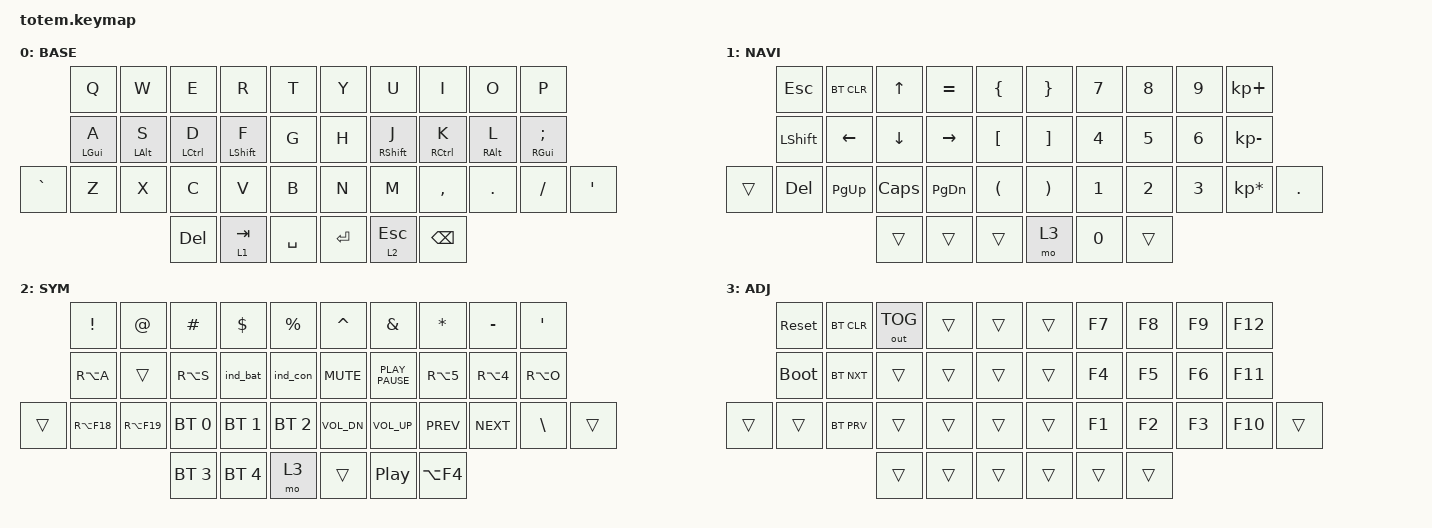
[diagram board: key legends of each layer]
//
//                                                        ▀▀▀▀▀     ▀▀▀▀▀          ▀▀█▀▀
//                                                        ▄▀▀▀▄  ▄  ▄▀▀▀▄  ▄  ▄▀▀▀▄  █  ▄▀▀▀▄
//                                                        █   █  █  █   █  █  █   █  █  █   █
//                                                         ▀▀▀   █   ▀▀▀   █   ▀▀▀   ▀   ▀▀▀
//                                                               █      ▄▄▄█▄▄▄    █   █  
//                                                               ▀      █  █  █     █▄█
//                                                             ▀▀▀▀▀    █  █  █      ▀
//                                                                      ▀  ▀  ▀
//
// ▄▄▄▄▄▄▄▄▄▄▄▄▄▄▄▄▄▄▄▄▄▄▄▄▄▄▄▄▄▄▄▄▄▄▄▄▄▄▄▄▄▄▄▄▄▄▄▄▄▄▄▄▄▄▄▄▄▄▄▄▄▄▄▄▄▄▄▄▄▄▄▄▄▄▄▄▄▄▄▄▄▄▄▄▄▄▄▄▄▄▄▄▄▄▄▄▄▄▄▄▄▄▄▄▄▄▄▄▄▄▄▄▄▄▄▄▄▄▄▄▄▄▄▄▄▄▄▄▄▄▄▄▄▄▄▄▄▄▄▄▄▄▄▄▄▄▄▄▄

#include <behaviors/rgbled_widget.dtsi>
#include <behaviors.dtsi>
#include <dt-bindings/zmk/bt.h>
#include <dt-bindings/zmk/keys.h>
#include <dt-bindings/zmk/outputs.h>

#define BASE 0
#define NAV  1
#define SYM  2
#define ADJ  3
#define TVP1 4
#define TVP2 5

&mt {
    quick-tap-ms = <100>;
    global-quick-tap;
    flavor = "tap-preferred";
    tapping-term-ms = <170>;
};

/ {
    behaviors {
        hml: homerow_mods_left {
            compatible = "zmk,behavior-hold-tap";
            #binding-cells = <2>;
            flavor = "balanced";
            tapping-term-ms = <280>;
            quick-tap-ms = <175>;
            require-prior-idle-ms = <150>;
            bindings = <&kp>, <&kp>;

            hold-trigger-key-positions = <5 6 7 8 9 15 16 17 18 19 25 26 27 28 29 30 31 32 33 34 35 36 37>;
            hold-trigger-on-release;
        };

        hmr: homerow_mods_right {
            compatible = "zmk,behavior-hold-tap";
            #binding-cells = <2>;
            flavor = "balanced";
            tapping-term-ms = <280>;
            quick-tap-ms = <175>;
            require-prior-idle-ms = <150>;
            bindings = <&kp>, <&kp>;

            hold-trigger-key-positions = <0 1 2 3 4 10 11 12 13 14 20 21 22 23 24 30 31 32 33 34 35 36 37>;
            hold-trigger-on-release;
        };

        ind_bat: ind_bat {
            compatible = "zmk,behavior-rgbled-widget";
            #binding-cells = <0>;
        };

        ind_con: ind_con {
            compatible = "zmk,behavior-rgbled-widget";
            #binding-cells = <0>;
        };
    };

    combos {
        compatible = "zmk,combos";

        combo_esc {
            timeout-ms = <50>;
            key-positions = <0 1>;
            bindings = <&kp ESC>;
        };

        combo_tvp {
            timeout-ms = <100>;
            key-positions = <11 12 13>;
            bindings = <&tog 0>;
        };
    };

    macros {
        gif: gif {
            label = "giphy";
            compatible = "zmk,behavior-macro";
            #binding-cells = <0>;
            bindings =
                <&macro_press>,
                <&kp LSHFT>,
                <&macro_tap>,
                <&kp N2>,
                <&macro_release>,
                <&kp LSHFT>,
                <&macro_tap>,
                <&kp G &kp I &kp F>;
        };
    };

    keymap {
        compatible = "zmk,keymap";

        // ▄▄▄▄▄▄▄▄▄▄▄▄▄▄▄▄▄▄▄▄▄▄▄▄▄▄▄▄▄▄▄▄▄▄▄▄▄▄▄▄▄▄▄▄▄▄▄▄▄▄▄▄▄▄▄▄▄▄▄▄▄▄▄▄▄▄▄▄▄▄▄▄▄▄▄▄▄▄▄▄▄▄▄▄▄▄▄▄▄▄▄▄▄▄▄▄▄▄▄▄▄▄▄▄▄▄▄▄▄▄▄▄▄▄▄▄▄▄▄▄▄▄▄▄▄▄▄▄▄▄▄▄▄▄▄▄▄▄▄▄▄▄▄▄▄▄▄▄▄

        base_layer {
            // ┏━━━━━━━━━━━━━━━━━━━━━━━━━━━━━━━━━━━━━━━┓

            label = "BASE";

            // ┗━━━━━━━━━━━━━━━━━━━━━━━━━━━━━━━━━━━━━━━┛
            //             ┏━━━━━━━━━━━┳━━━━━━━━━━━┳━━━━━━━━━━━┳━━━━━━━━━━━┳━━━━━━━━━━━┓   ┏━━━━━━━━━━━┳━━━━━━━━━━━┳━━━━━━━━━━━┳━━━━━━━━━━━┳━━━━━━━━━━━┓
            //             ┃     Q     ┃     W     ┃     F     ┃     P     ┃     G     ┃   ┃     J     ┃     L     ┃     U     ┃     Y     ┃     ;     ┃
            //             ┣━━━━━━━━━━━╋━━━━━━━━━━━╋━━━━━━━━━━━╋━━━━━━━━━━━╋━━━━━━━━━━━┫   ┣━━━━━━━━━━━╋━━━━━━━━━━━╋━━━━━━━━━━━╋━━━━━━━━━━━╋━━━━━━━━━━━┫
            //             ┃     A     ┃     R     ┃     S     ┃     T     ┃     D     ┃   ┃     H     ┃     N     ┃     E     ┃     I     ┃     O     ┃
            // ┏━━━━━━━━━━━╋━━━━━━━━━━━╋━━━━━━━━━━━╋━━━━━━━━━━━╋━━━━━━━━━━━╋━━━━━━━━━━━┫   ┣━━━━━━━━━━━╋━━━━━━━━━━━╋━━━━━━━━━━━╋━━━━━━━━━━━╋━━━━━━━━━━━╋━━━━━━━━━━━┓
            // ┃     Q     ┃     Z     ┃     X     ┃     C     ┃     V     ┃     B     ┃   ┃     K     ┃     M     ┃     ,     ┃     .     ┃     /     ┃     \     ┃
            // ┗━━━━━━━━━━━┻━━━━━━━━━━━┻━━━━━━━━━━━╋━━━━━━━━━━━╋━━━━━━━━━━━╋━━━━━━━━━━━┫   ┣━━━━━━━━━━━╋━━━━━━━━━━━╋━━━━━━━━━━━╋━━━━━━━━━━━┻━━━━━━━━━━━┻━━━━━━━━━━━┛
            //                                     ┃    DEL    ┃    TAB    ┃    SPC    ┃   ┃   ENTER   ┃           ┃   BSPC    ┃
            //                                     ┗━━━━━━━━━━━┻━━━━━━━━━━━┻━━━━━━━━━━━┛   ┗━━━━━━━━━━━┻━━━━━━━━━━━┻━━━━━━━━━━━┛

            bindings = <
           &kp Q        &kp W            &kp E         &kp R              &kp T        &kp Y    &kp U         &kp I         &kp O        &kp P
           &hml LGUI A  &hml LEFT_ALT S  &hml LCTRL D  &hml LEFT_SHIFT F  &kp G        &kp H    &hmr RSHFT J  &hmr RCTRL K  &hmr RALT L  &hmr RIGHT_GUI SEMICOLON
&kp GRAVE  &kp Z        &kp X            &kp C         &kp V              &kp B        &kp N    &kp M         &kp COMMA     &kp DOT      &kp FSLH                  &kp SQT
                                         &kp DEL       &lt 1 TAB          &kp SPACE    &kp RET  &lt 2 ESC     &kp BSPC
            >;
        };

        // ▄▄▄▄▄▄▄▄▄▄▄▄▄▄▄▄▄▄▄▄▄▄▄▄▄▄▄▄▄▄▄▄▄▄▄▄▄▄▄▄▄▄▄▄▄▄▄▄▄▄▄▄▄▄▄▄▄▄▄▄▄▄▄▄▄▄▄▄▄▄▄▄▄▄▄▄▄▄▄▄▄▄▄▄▄▄▄▄▄▄▄▄▄▄▄▄▄▄▄▄▄▄▄▄▄▄▄▄▄▄▄▄▄▄▄▄▄▄▄▄▄▄▄▄▄▄▄▄▄▄▄▄▄▄▄▄▄▄▄▄▄▄▄▄▄▄▄▄▄

        nav_layer {
            // ┏━━━━━━━━━━━━━━━━━━━━━━━━━━━━━━━━━━━━━━━┓

            label = "NAVI";

            // ┗━━━━━━━━━━━━━━━━━━━━━━━━━━━━━━━━━━━━━━━┛
            //             ┏━━━━━━━━━━━┳━━━━━━━━━━━┳━━━━━━━━━━━┳━━━━━━━━━━━┳━━━━━━━━━━━┓   ┏━━━━━━━━━━━┳━━━━━━━━━━━┳━━━━━━━━━━━┳━━━━━━━━━━━┳━━━━━━━━━━━┓
            //             ┃           ┃           ┃     UP    ┃           ┃     {     ┃   ┃     }     ┃     7     ┃     8     ┃     9     ┃     +     ┃
            //             ┣━━━━━━━━━━━╋━━━━━━━━━━━╋━━━━━━━━━━━╋━━━━━━━━━━━╋━━━━━━━━━━━┫   ┣━━━━━━━━━━━╋━━━━━━━━━━━╋━━━━━━━━━━━╋━━━━━━━━━━━╋━━━━━━━━━━━┫
            //             ┃   SHIFT   ┃   LEFT    ┃    DOWN   ┃   RIGHT   ┃     [     ┃   ┃     ]     ┃     4     ┃     5     ┃     6     ┃     -     ┃
            // ┏━━━━━━━━━━━╋━━━━━━━━━━━╋━━━━━━━━━━━╋━━━━━━━━━━━╋━━━━━━━━━━━╋━━━━━━━━━━━┫   ┣━━━━━━━━━━━╋━━━━━━━━━━━╋━━━━━━━━━━━╋━━━━━━━━━━━╋━━━━━━━━━━━╋━━━━━━━━━━━┓
            // ┃           ┃           ┃   P UP    ┃  C LOCK   ┃  P DOWN   ┃     (     ┃   ┃     )     ┃     1     ┃     2     ┃     3     ┃     *     ┃           ┃
            // ┗━━━━━━━━━━━┻━━━━━━━━━━━┻━━━━━━━━━━━╋━━━━━━━━━━━╋━━━━━━━━━━━╋━━━━━━━━━━━┫   ┣━━━━━━━━━━━╋━━━━━━━━━━━╋━━━━━━━━━━━╋━━━━━━━━━━━┻━━━━━━━━━━━┻━━━━━━━━━━━┛
            //                                     ┃           ┃    TAB    ┃    SPC    ┃   ┃    DEL    ┃     0     ┃           ┃
            //                                     ┗━━━━━━━━━━━┻━━━━━━━━━━━┻━━━━━━━━━━━┛   ┗━━━━━━━━━━━┻━━━━━━━━━━━┻━━━━━━━━━━━┛

            bindings = <
        &kp ESC    &bt BT_CLR  &kp UP    &kp EQUAL  &kp LBRC    &kp RBRC  &kp NUMBER_7  &kp NUMBER_8  &kp NUMBER_9  &kp KP_PLUS
        &kp LSHFT  &kp LEFT    &kp DOWN  &kp RIGHT  &kp LBKT    &kp RBKT  &kp NUMBER_4  &kp NUMBER_5  &kp NUMBER_6  &kp KP_MINUS
&trans  &kp DEL    &kp PG_UP   &kp CAPS  &kp PG_DN  &kp LPAR    &kp RPAR  &kp NUMBER_1  &kp NUMBER_2  &kp NUMBER_3  &kp KP_MULTIPLY  &kp PERIOD
                               &trans    &trans     &trans      &mo 3     &kp NUMBER_0  &trans
            >;
        };

        // ▄▄▄▄▄▄▄▄▄▄▄▄▄▄▄▄▄▄▄▄▄▄▄▄▄▄▄▄▄▄▄▄▄▄▄▄▄▄▄▄▄▄▄▄▄▄▄▄▄▄▄▄▄▄▄▄▄▄▄▄▄▄▄▄▄▄▄▄▄▄▄▄▄▄▄▄▄▄▄▄▄▄▄▄▄▄▄▄▄▄▄▄▄▄▄▄▄▄▄▄▄▄▄▄▄▄▄▄▄▄▄▄▄▄▄▄▄▄▄▄▄▄▄▄▄▄▄▄▄▄▄▄▄▄▄▄▄▄▄▄▄▄▄▄▄▄▄▄▄

        sim_layer {
            // ┏━━━━━━━━━━━━━━━━━━━━━━━━━━━━━━━━━━━━━━━┓

            label = "SYM";

            // ┗━━━━━━━━━━━━━━━━━━━━━━━━━━━━━━━━━━━━━━━┛
            //             ┏━━━━━━━━━━━┳━━━━━━━━━━━┳━━━━━━━━━━━┳━━━━━━━━━━━┳━━━━━━━━━━━┓   ┏━━━━━━━━━━━┳━━━━━━━━━━━┳━━━━━━━━━━━┳━━━━━━━━━━━┳━━━━━━━━━━━┓
            //             ┃     !     ┃     @     ┃     #     ┃     $     ┃     %     ┃   ┃     ˆ     ┃     &     ┃     Ü     ┃     '     ┃     "     ┃
            //             ┣━━━━━━━━━━━╋━━━━━━━━━━━╋━━━━━━━━━━━╋━━━━━━━━━━━╋━━━━━━━━━━━┫   ┣━━━━━━━━━━━╋━━━━━━━━━━━╋━━━━━━━━━━━╋━━━━━━━━━━━╋━━━━━━━━━━━┫
            //             ┃     Ä     ┃           ┃    SZ     ┃           ┃           ┃   ┃   MUTE    ┃   YEN     ┃   EURO    ┃  POUND    ┃     Ö     ┃
            // ┏━━━━━━━━━━━╋━━━━━━━━━━━╋━━━━━━━━━━━╋━━━━━━━━━━━╋━━━━━━━━━━━╋━━━━━━━━━━━┫   ┣━━━━━━━━━━━╋━━━━━━━━━━━╋━━━━━━━━━━━╋━━━━━━━━━━━╋━━━━━━━━━━━╋━━━━━━━━━━━┓
            // ┃           ┃  EMAIL1   ┃  EMAIL2   ┃           ┃           ┃           ┃   ┃   VOL-    ┃   VOL+    ┃   LAST    ┃   NEXT    ┃     \     ┃           ┃
            // ┗━━━━━━━━━━━┻━━━━━━━━━━━┻━━━━━━━━━━━╋━━━━━━━━━━━╋━━━━━━━━━━━╋━━━━━━━━━━━┫   ┣━━━━━━━━━━━╋━━━━━━━━━━━╋━━━━━━━━━━━╋━━━━━━━━━━━┻━━━━━━━━━━━┻━━━━━━━━━━━┛
            //                                     ┃           ┃    GIF    ┃    ADJ    ┃   ┃           ┃           ┃           ┃
            //                                     ┗━━━━━━━━━━━┻━━━━━━━━━━━┻━━━━━━━━━━━┛   ┗━━━━━━━━━━━┻━━━━━━━━━━━┻━━━━━━━━━━━┛

            bindings = <
        &kp EXCL     &kp AT       &kp HASH      &kp DLLR      &kp PRCNT       &kp CARET     &kp AMPS          &kp ASTERISK  &kp MINUS   &kp SQT
        &kp RA(A)    &trans       &kp RA(S)     &ind_bat      &ind_con        &kp C_MUTE    &kp K_PLAY_PAUSE  &kp RA(N5)    &kp RA(N4)  &kp RA(O)
&trans  &kp RA(F18)  &kp RA(F19)  &bt BT_SEL 0  &bt BT_SEL 1  &bt BT_SEL 2    &kp C_VOL_DN  &kp C_VOL_UP      &kp C_PREV    &kp C_NEXT  &kp BSLH   &trans
                                  &bt BT_SEL 3  &bt BT_SEL 4  &mo 3           &trans        &kp C_PP          &kp LA(F4)
            >;
        };

        // ▄▄▄▄▄▄▄▄▄▄▄▄▄▄▄▄▄▄▄▄▄▄▄▄▄▄▄▄▄▄▄▄▄▄▄▄▄▄▄▄▄▄▄▄▄▄▄▄▄▄▄▄▄▄▄▄▄▄▄▄▄▄▄▄▄▄▄▄▄▄▄▄▄▄▄▄▄▄▄▄▄▄▄▄▄▄▄▄▄▄▄▄▄▄▄▄▄▄▄▄▄▄▄▄▄▄▄▄▄▄▄▄▄▄▄▄▄▄▄▄▄▄▄▄▄▄▄▄▄▄▄▄▄▄▄▄▄▄▄▄▄▄▄▄▄▄▄▄▄

        adjust_layer {
            // ┏━━━━━━━━━━━━━━━━━━━━━━━━━━━━━━━━━━━━━━━┓

            label = "ADJ";

            // ┗━━━━━━━━━━━━━━━━━━━━━━━━━━━━━━━━━━━━━━━┛
            //             ┏━━━━━━━━━━━┳━━━━━━━━━━━┳━━━━━━━━━━━┳━━━━━━━━━━━┳━━━━━━━━━━━┓   ┏━━━━━━━━━━━┳━━━━━━━━━━━┳━━━━━━━━━━━┳━━━━━━━━━━━┳━━━━━━━━━━━┓
            //             ┃   RESET   ┃ BT CLEAR  ┃  USB/BT   ┃           ┃           ┃   ┃           ┃    F7     ┃    F8     ┃    F9     ┃    F12    ┃
            //             ┣━━━━━━━━━━━╋━━━━━━━━━━━╋━━━━━━━━━━━╋━━━━━━━━━━━╋━━━━━━━━━━━┫   ┣━━━━━━━━━━━╋━━━━━━━━━━━╋━━━━━━━━━━━╋━━━━━━━━━━━╋━━━━━━━━━━━┫
            //             ┃ BOOTLOAD  ┃ BT NEXT   ┃           ┃           ┃           ┃   ┃           ┃    F4     ┃    F5     ┃    F6     ┃    F11    ┃
            // ┏━━━━━━━━━━━╋━━━━━━━━━━━╋━━━━━━━━━━━╋━━━━━━━━━━━╋━━━━━━━━━━━╋━━━━━━━━━━━┫   ┣━━━━━━━━━━━╋━━━━━━━━━━━╋━━━━━━━━━━━╋━━━━━━━━━━━╋━━━━━━━━━━━╋━━━━━━━━━━━┓
            // ┃           ┃           ┃ BT PREV   ┃           ┃           ┃           ┃   ┃           ┃    F1     ┃    F2     ┃    F3     ┃    F10    ┃           ┃
            // ┗━━━━━━━━━━━┻━━━━━━━━━━━┻━━━━━━━━━━━╋━━━━━━━━━━━╋━━━━━━━━━━━╋━━━━━━━━━━━┫   ┣━━━━━━━━━━━╋━━━━━━━━━━━╋━━━━━━━━━━━╋━━━━━━━━━━━┻━━━━━━━━━━━┻━━━━━━━━━━━┛
            //                                     ┃           ┃           ┃           ┃   ┃           ┃           ┃           ┃
            //                                     ┗━━━━━━━━━━━┻━━━━━━━━━━━┻━━━━━━━━━━━┛   ┗━━━━━━━━━━━┻━━━━━━━━━━━┻━━━━━━━━━━━┛

            bindings = <
        &sys_reset   &bt BT_CLR  &out OUT_TOG  &trans  &trans    &trans  &kp F7  &kp F8  &kp F9  &kp F12
        &bootloader  &bt BT_NXT  &trans        &trans  &trans    &trans  &kp F4  &kp F5  &kp F6  &kp F11
&trans  &trans       &bt BT_PRV  &trans        &trans  &trans    &trans  &kp F1  &kp F2  &kp F3  &kp F10  &trans
                                 &trans        &trans  &trans    &trans  &trans  &trans
            >;
        };

        // ▄▄▄▄▄▄▄▄▄▄▄▄▄▄▄▄▄▄▄▄▄▄▄▄▄▄▄▄▄▄▄▄▄▄▄▄▄▄▄▄▄▄▄▄▄▄▄▄▄▄▄▄▄▄▄▄▄▄▄▄▄▄▄▄▄▄▄▄▄▄▄▄▄▄▄▄▄▄▄▄▄▄▄▄▄▄▄▄▄▄▄▄▄▄▄▄▄▄▄▄▄▄▄▄▄▄▄▄▄▄▄▄▄▄▄▄▄▄▄▄▄▄▄▄▄▄▄▄▄▄▄▄▄▄▄▄▄▄▄▄▄▄▄▄▄▄▄▄▄
        // ▄▄▄▄▄▄▄▄▄▄▄▄▄▄▄▄▄▄▄▄▄▄▄▄▄▄▄▄▄▄▄▄▄▄▄▄▄▄▄▄▄▄▄▄▄▄▄▄▄▄▄▄▄▄▄▄▄▄▄▄▄▄▄▄▄▄▄▄▄▄▄▄▄▄▄▄▄▄▄▄▄▄▄▄▄▄▄▄▄▄▄▄▄▄▄▄▄▄▄▄▄▄▄▄▄▄▄▄▄▄▄▄▄▄▄▄▄▄▄▄▄▄▄▄▄▄▄▄▄▄▄▄▄▄▄▄▄▄▄▄▄▄▄▄▄▄▄▄▄
    };
};
